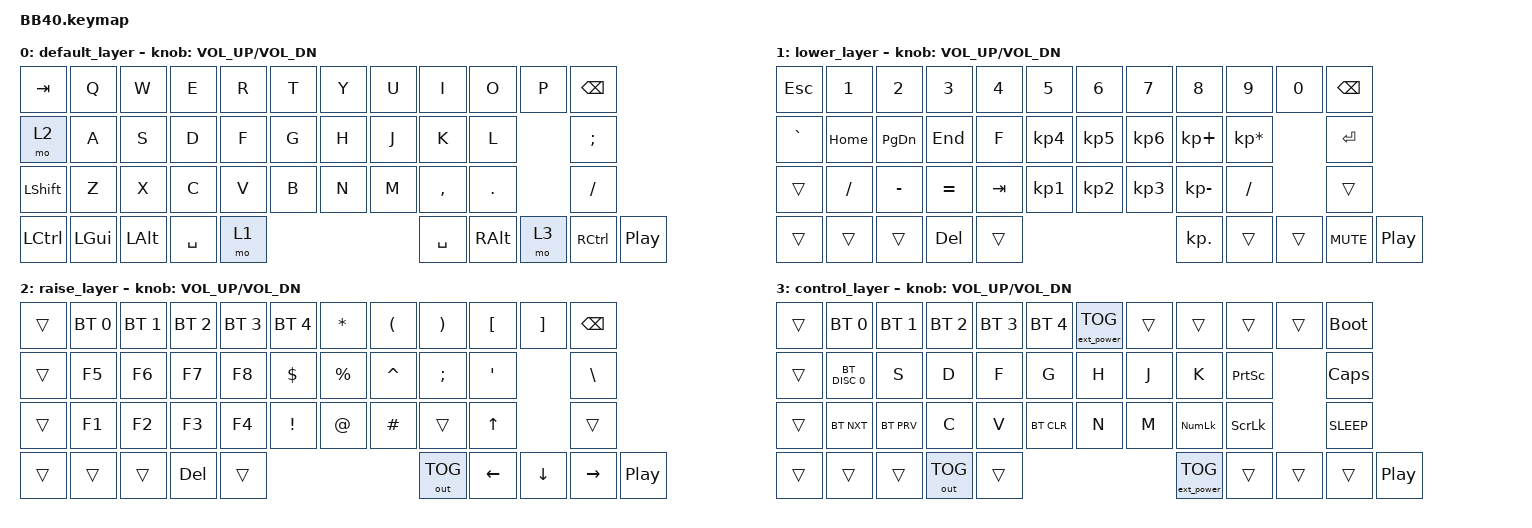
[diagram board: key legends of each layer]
/*
 * Copyright (c) 2022 The ZMK Contributors
 *
 * SPDX-License-Identifier: MIT
 */

#include <behaviors.dtsi>
#include <dt-bindings/zmk/bt.h>
#include <dt-bindings/zmk/ext_power.h>
#include <dt-bindings/zmk/keys.h>
#include <dt-bindings/zmk/outputs.h>

&encoder_1 { status = "okay"; };

#define DEFAULT 0
#define LOWER   1
#define RAISE   2
#define CONTROL 3

/ {
    behaviors {
        td_lx: tap_dance_layers {
            compatible = "zmk,behavior-tap-dance";
            label = "TAP_DANCE_LAYERS";
            #binding-cells = <0>;
            tapping-term-ms = <170>;
            bindings = <&mo 1>, <&mo 2>, <&mo 3>;
        };
    };

    sensors {
        compatible = "zmk,keymap-sensors";
        sensors = <&encoder_1>;
        triggers-per-rotation = <20>;
    };

    keymap {
        compatible = "zmk,keymap";

        default_layer {
            bindings = <
&kp TAB    &kp Q     &kp W     &kp E  &kp R      &kp T  &kp Y  &kp U  &kp I      &kp O     &kp P  &kp BSPC
&mo 2      &kp A     &kp S     &kp D  &kp F      &kp G  &kp H  &kp J  &kp K      &kp L            &kp SEMI
&kp LSHFT  &kp Z     &kp X     &kp C  &kp V      &kp B  &kp N  &kp M  &kp COMMA  &kp DOT          &kp SLASH
&kp LCTRL  &kp LGUI  &kp LALT         &kp SPACE         &mo 1         &kp SPACE  &kp RALT  &mo 3  &kp RCTRL &kp C_PP
            >;

            sensor-bindings = <&inc_dec_kp C_VOL_UP C_VOL_DN>;
        };

        lower_layer {
            bindings = <
&kp ESC    &kp N1    &kp N2     &kp N3     &kp NUMBER_4  &kp N5     &kp N6     &kp NUMBER_7  &kp NUMBER_8  &kp N9           &kp N0  &kp BACKSPACE
&kp GRAVE  &kp HOME  &kp PG_DN  &kp END    &kp F         &kp KP_N4  &kp KP_N5  &kp KP_N6     &kp KP_PLUS   &kp KP_MULTIPLY          &kp ENTER
&trans     &kp FSLH  &kp MINUS  &kp EQUAL  &kp TAB       &kp KP_N1  &kp KP_N2  &kp KP_N3     &kp KP_MINUS  &kp SLASH            &trans
&trans     &trans    &trans                &kp DEL                  &trans                   &kp KP_DOT    &trans           &trans  &kp C_MUTE &kp C_PP
            >;

            sensor-bindings = <&inc_dec_kp C_VOL_UP C_VOL_DN>;
        };

        raise_layer {
            bindings = <
&trans  &bt BT_SEL 0  &bt BT_SEL 1  &bt BT_SEL 2  &bt BT_SEL 3  &bt BT_SEL 4  &kp STAR   &kp LPAR   &kp RPAR      &kp LBKT        &kp RBKT  &kp BACKSPACE
&trans  &kp F5        &kp F6        &kp F7        &kp F8        &kp DLLR      &kp PRCNT  &kp CARET  &kp SEMI      &kp APOS                  &kp BSLH
&trans  &kp F1        &kp F2        &kp F3        &kp F4        &kp EXCL      &kp AT     &kp HASH   &trans        &kp UP                    &trans
&trans  &trans        &trans                      &kp DEL                     &trans                &out OUT_TOG  &kp LEFT_ARROW  &kp DOWN  &kp RIGHT &kp C_PP
            >;

            sensor-bindings = <&inc_dec_kp C_VOL_UP C_VOL_DN>;
        };

        control_layer {
            bindings = <
&trans  &bt BT_SEL 0   &bt BT_SEL 1  &bt BT_SEL 2  &bt BT_SEL 3  &bt BT_SEL 4  &ext_power EP_TOG  &trans  &trans             &trans     &trans  &bootloader
&trans  &bt BT_DISC 0  &kp S         &kp D         &kp F         &kp G         &kp H              &kp J   &kp K              &kp PSCRN          &kp CAPS
&trans  &bt BT_NXT     &bt BT_PRV    &kp C         &kp V         &bt BT_CLR    &kp N              &kp M   &kp KP_NLCK        &kp SLCK           &kp C_SLEEP
&trans  &trans         &trans                      &out OUT_TOG                &trans                     &ext_power EP_TOG  &trans     &trans  &trans &kp C_PP
            >;

            sensor-bindings = <&inc_dec_kp C_VOL_UP C_VOL_DN>;
        };
    };
};
